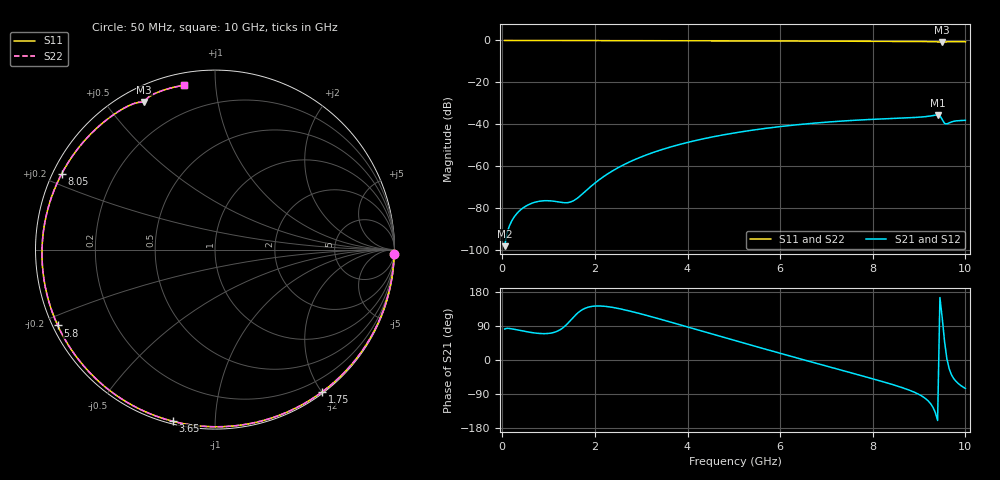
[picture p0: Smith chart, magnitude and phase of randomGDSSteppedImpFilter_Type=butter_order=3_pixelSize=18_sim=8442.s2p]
! freq	dB(S11)	phase(S11)	dB(S12)	phase(S12)
!  dB(S21)	phase(S21)	dB(S22)	phase(S22)
!S-par simulation data
#  GHz  S  DB  R 50
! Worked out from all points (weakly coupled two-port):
!   200 points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, 50 MHz to 10 GHz, reference 50 ohm
!   highest |S21| = -35.52 dB at 9.4 GHz (marker M1); lowest = -98.1 dB at 50 MHz (marker M2)
!   lowest |S11| = -0.8 dB at 9.5 GHz (marker M3), VSWR 21.73, Z = 3.21 + j31.4 ohm
!   |S11| at or under -10 dB: nowhere
!   |S22| runs from -0.8 to 0.0 dB; largest |S21 - S12| = 0
!   S11 on the Smith chart (normalised r, x): 50 MHz: 4, -76; 1.75 GHz: 0.02, -2.01; 3.65 GHz: 0.01, -0.78; 5.8 GHz: 0.01, -0.23; 8.05 GHz: 0.03, +0.23; 10 GHz: 0.06, +0.83
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0.05  -0.01 -1.5  -98.13 81.8  -98.13 81.8  -0.01 -1.5
0.45  -0.02 -13.9  -79.86 76.4  -79.86 76.4  -0.02 -13.9
0.65  -0.03 -20.1  -77.56 72.1  -77.56 72.1  -0.03 -20.1
0.85  -0.03 -26.2  -76.56 69.7  -76.56 69.7  -0.03 -26.2
1.45  -0.06 -44.2  -77.21 101.5  -77.21 101.5  -0.06 -44.2
1.75  -0.07 -52.9  -72.82 134.3  -72.82 134.3  -0.07 -52.9
2.1  -0.08 -62.9  -66.34 142.6  -66.34 142.6  -0.08 -62.9
2.45  -0.09 -72.6  -61.32 137.3  -61.32 137.3  -0.09 -72.6
3.4  -0.12 -97.6  -52.39 108.1  -52.39 108.1  -0.12 -97.6
3.65  -0.13 -103.9  -50.71 99.4  -50.71 99.4  -0.13 -103.9
5.05  -0.20 -137.2  -43.99 50.4  -43.99 50.4  -0.20 -137.2
5.8  -0.24 -154.3  -41.62 24.5  -41.62 24.5  -0.24 -154.2
6.7  -0.30 -174.6  -39.52 -6.0  -39.52 -6.0  -0.30 -174.6
7.4  -0.36 169.2  -38.36 -29.5  -38.36 -29.5  -0.36 169.2
8.05  -0.42 153.6  -37.58 -51.4  -37.58 -51.4  -0.42 153.6
8.35  -0.45 146.1  -37.29 -62.0  -37.29 -62.0  -0.45 146.1
9.4  -0.68 117.4  -35.52 -159.8  -35.52 -159.8  -0.68 117.5
9.45  -0.76 116.3  -35.93 164.9  -35.93 164.9  -0.76 116.3
9.5  -0.80 115.6  -37.69 110.4  -37.69 110.4  -0.80 115.6
9.55  -0.72 114.7  -39.61 48.8  -39.61 48.8  -0.72 114.7
9.6  -0.65 113.2  -39.80 3.3  -39.80 3.3  -0.65 113.3
10  -0.61 100.5  -38.10 -75.0  -38.10 -75.0  -0.61 100.6
